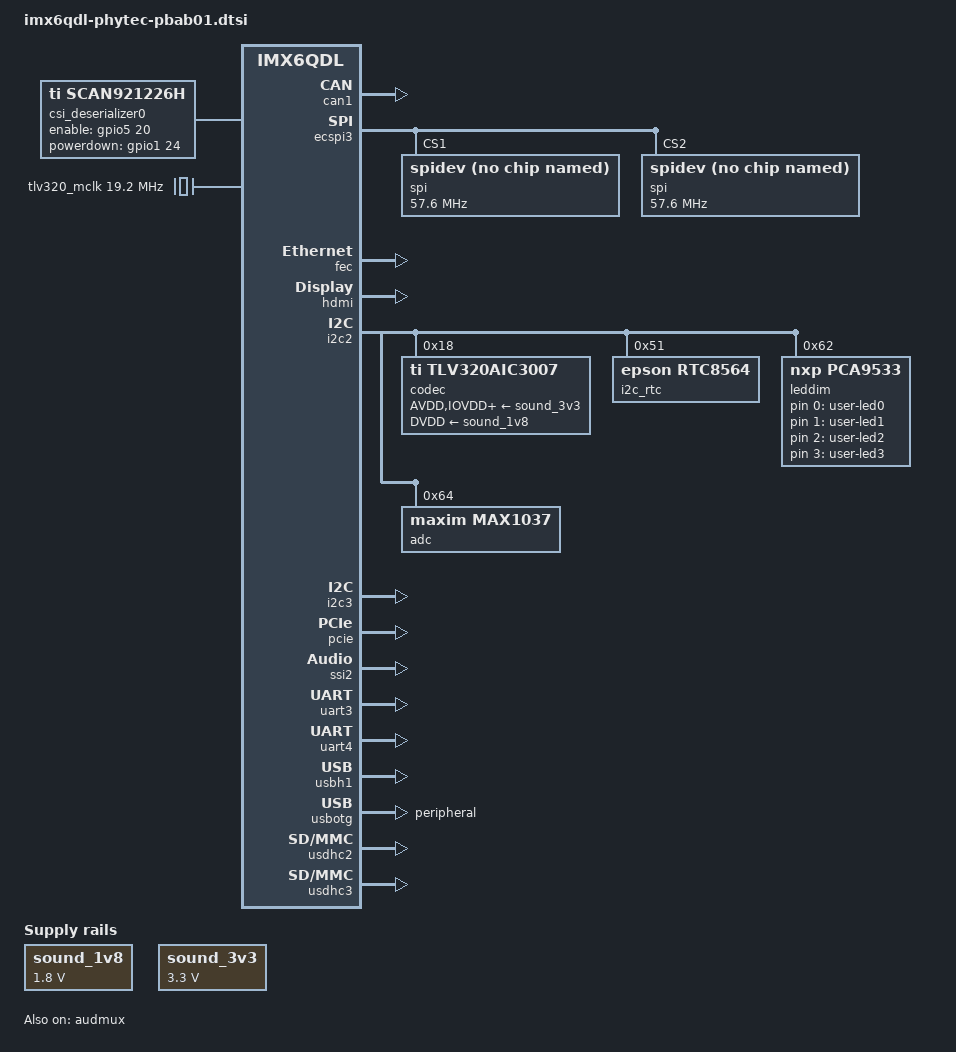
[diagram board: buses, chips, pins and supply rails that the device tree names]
// SPDX-License-Identifier: GPL-2.0-or-later
/*
 * Copyright (C) 2018 PHYTEC Messtechnik GmbH
 * Author: Christian Hemp <c.hemp@phytec.de>
 */

#include <dt-bindings/sound/fsl-imx-audmux.h>
#include <dt-bindings/leds/leds-pca9532.h>
#include "imx6qdl-phytec-lcd.dtsi"

/ {
	aliases {
		rtc0 = &i2c_rtc;
	};

	chosen {
		stdout-path = &uart4;
	};

	csi_deserializer0: csi-deserializer0 {
		compatible = "ti,scan921226h";
		pinctrl-names = "default";
		pinctrl-0 = <&pinctrl_csi_des0>;

		enable-gpios = <&gpio5 20 GPIO_ACTIVE_HIGH>;
		powerdown-gpios = <&gpio1 24 GPIO_ACTIVE_HIGH>;
	};

	user-leds {
		compatible = "gpio-leds";

		user-led0 {
			gpios = <&leddim 0 GPIO_ACTIVE_HIGH>;
			linux,default-trigger = "none";
			default-state = "on";
		};

		user-led1 {
			gpios = <&leddim 1 GPIO_ACTIVE_HIGH>;
			linux,default-trigger = "none";
			default-state = "on";
		};

		user-led2 {
			gpios = <&leddim 2 GPIO_ACTIVE_HIGH>;
			linux,default-trigger = "none";
			default-state = "on";
		};

		user-led3 {
			gpios = <&leddim 3 GPIO_ACTIVE_HIGH>;
			linux,default-trigger = "none";
			default-state = "on";
		};
	};

	sound_1v8: regulator-1v8 {
		compatible = "regulator-fixed";
		regulator-name = "i2s-audio-1v8";
		regulator-min-microvolt = <1800000>;
		regulator-max-microvolt = <1800000>;
	};

	sound_3v3: regulator-3v3 {
		compatible = "regulator-fixed";
		regulator-name = "i2s-audio-3v3";
		regulator-min-microvolt = <3300000>;
		regulator-max-microvolt = <3300000>;
	};

	tlv320_mclk: oscillator {
		compatible = "fixed-clock";
		#clock-cells = <0>;
		clock-frequency = <19200000>;
		clock-output-names = "tlv320-mclk";
	};

	sound {
		compatible = "simple-audio-card";
		simple-audio-card,name = "OnboardTLV320AIC3007";
		simple-audio-card,format = "i2s";
		simple-audio-card,bitclock-master = <&dailink_master>;
		simple-audio-card,frame-master = <&dailink_master>;
		simple-audio-card,widgets =
			"Microphone", "Mic Jack",
			"Line", "Line In",
			"Line", "Line Out",
			"Speaker", "Speaker",
			"Headphone", "Headphone Jack";
		simple-audio-card,routing =
			"Line Out", "LLOUT",
			"Line Out", "RLOUT",
			"Speaker", "SPOP",
			"Speaker", "SPOM",
			"Headphone Jack", "HPLOUT",
			"Headphone Jack", "HPROUT",
			"MIC3L", "Mic Jack",
			"MIC3R", "Mic Jack",
			"Mic Jack", "Mic Bias",
			"LINE1L", "Line In",
			"LINE1R", "Line In";

		simple-audio-card,cpu {
			sound-dai = <&ssi2>;
		};

		dailink_master: simple-audio-card,codec {
			sound-dai = <&codec>;
			clocks = <&tlv320_mclk>;
		};
	};
};

&audmux {
	status = "okay";

	ssi2 {
		fsl,audmux-port = <1>;
		fsl,port-config = <
			(IMX_AUDMUX_V2_PTCR_TFSDIR |
			IMX_AUDMUX_V2_PTCR_TFSEL(4) |
			IMX_AUDMUX_V2_PTCR_TCLKDIR |
			IMX_AUDMUX_V2_PTCR_TCSEL(4))
			IMX_AUDMUX_V2_PDCR_RXDSEL(4)
		>;
	};

	pins5 {
		fsl,audmux-port = <4>;
		fsl,port-config = <
			0x00000000
			IMX_AUDMUX_V2_PDCR_RXDSEL(1)
		>;
	};
};

&can1 {
	status = "okay";
};

&ecspi3 {
	spi@1 {
		compatible = "spidev";
		spi-max-frequency = <57600000>;
		reg = <1>;
	};

	spi@2 {
		compatible = "spidev";
		spi-max-frequency = <57600000>;
		reg = <2>;
	};
};

&fec {
	status = "okay";
};

&gpio_leds {
	user-led-gpio {
		gpios = <&gpio2 24 GPIO_ACTIVE_HIGH>;
		linux,default-trigger = "gpio";
	};
};

&hdmi {
	pinctrl-names = "default";
	pinctrl-0 = <&pinctrl_hdmicec>;
	ddc-i2c-bus = <&hdmi_ddc>;
	status = "okay";
};

&i2c2 {
	status = "okay";

	codec: codec@18 {
		compatible = "ti,tlv320aic3007";
		#sound-dai-cells = <0>;
		reg = <0x18>;
		ai3x-micbias-vg = <2>;

		AVDD-supply = <&sound_3v3>;
		IOVDD-supply = <&sound_3v3>;
		DRVDD-supply = <&sound_3v3>;
		DVDD-supply = <&sound_1v8>;
	};

        polytouch: polytouch@38 {
		compatible = "edt,edt-ft5406", "edt,edt-ft5x06";
		reg = <0x38>;
		pinctrl-names = "default";
		pinctrl-0 = <&pinctrl_edt_ft5x06>;
		interrupt-parent = <&gpio7>;
		interrupts = <12 0>;
		status = "disabled";
	};

	touchctrl@41 {
		compatible = "st,stmpe811";
		reg = <0x41>;
		interrupts = <8 IRQ_TYPE_LEVEL_LOW>;
		interrupt-parent = <&gpio5>;
		status = "disabled";

		stmpe_touchscreen {
			compatible = "st,stmpe-ts";
			st,sample-time = <4>;
			st,mod-12b = <1>;
			st,ref-sel = <0>;
			st,adc-freq = <1>;
			st,ave-ctrl = <1>;
			st,touch-det-delay = <2>;
			st,settling = <2>;
			st,fraction-z = <7>;
			st,i-drive = <1>;
		};
	};

	i2c_rtc:rtc@51 {
		compatible = "epson,rtc8564";
		reg = <0x51>;
		disable-clkout;
	};

	leddim: leddimmer@62 {
		compatible = "nxp,pca9533";
		gpio-controller;
		#gpio-cells = <2>;
		reg = <0x62>;

		user1 {
			label = "user1";
			type = <PCA9532_TYPE_GPIO>;
		};

		user2 {
			label = "user2";
			type = <PCA9532_TYPE_GPIO>;
		};

		user3 {
			label = "user3";
			type = <PCA9532_TYPE_GPIO>;
		};

		user4 {
			label = "user4";
			type = <PCA9532_TYPE_GPIO>;
		};
	};

	adc@64 {
		compatible = "maxim,max1037";
		reg = <0x64>;
	};
};

&i2c3 {
	status = "okay";
};

&pcie {
	status = "okay";
};

&ssi2 {
	status = "okay";
};

&uart3 {
	status = "okay";
};

&uart4 {
	status = "okay";
};

&usbh1 {
	status = "okay";
};

&usbotg {
	status = "okay";
	dr_mode = "peripheral";
};

/* SD1 on baseboard */
&usdhc2 {
	status = "okay";
};

/* SD0 on baseboard */
&usdhc3 {
	status = "okay";
};
